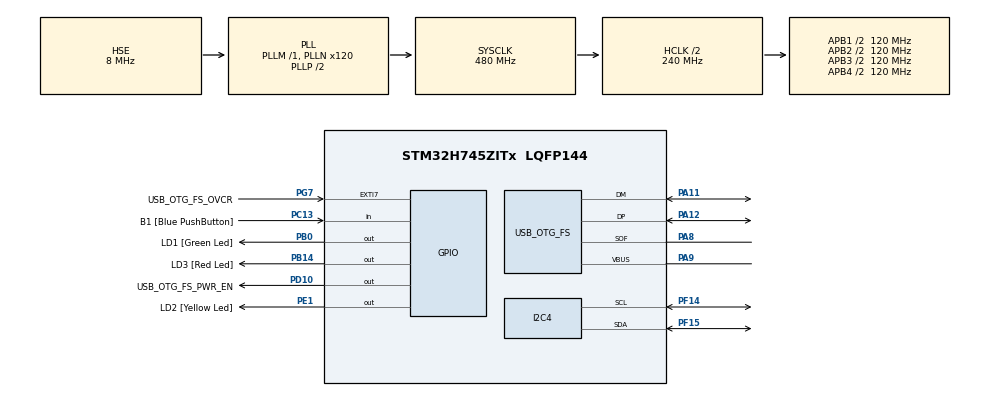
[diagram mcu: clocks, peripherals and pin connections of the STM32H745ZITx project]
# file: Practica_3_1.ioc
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CortexM4.IPs=FATFS_M4\:I,FREERTOS_M4\:I,IWDG2\:I,RCC,WWDG2\:I,DMA,BDMA,MDMA,NVIC2\:I,DEBUG,USB_DEVICE_M4\:I,USB_HOST_M4\:I,PDM2PCM_M4\:I,PWR,RESMGR_UTILITY,SYS_M4\:I,CORTEX_M4\:I,OPENAMP_M4\:I,VREFBUF
CortexM7.IPs=FATFS_M7\:I,FREERTOS_M7\:I,IWDG1\:I,RCC\:I,WWDG1\:I,DMA\:I,BDMA\:I,MDMA\:I,NVIC1\:I,SYS\:I,USB_OTG_FS\:I,CORTEX_M7\:I,DEBUG\:I,USB_DEVICE_M7\:I,USB_HOST_M7\:I,PDM2PCM_M7\:I,PWR\:I,RESMGR_UTILITY\:I,OPENAMP_M7\:I,VREFBUF\:I,I2C4\:I,TIM5\:I
I2C4.Timing=0x307075B1
Mcu.Family=STM32H7
Mcu.Name=STM32H745ZITx
Mcu.Package=LQFP144
NVIC1.PriorityGroup=NVIC_PRIORITYGROUP_4
NVIC2.PriorityGroup=NVIC_PRIORITYGROUP_4
PA1.PinAttribute=CortexM7
PA1.Signal=ETH_REF_CLK
PA11.Mode=Device_Only
PA11.PinAttribute=CortexM7
PA11.Signal=USB_OTG_FS_DM
PA12.Mode=Device_Only
PA12.PinAttribute=CortexM7
PA12.Signal=USB_OTG_FS_DP
PA2.PinAttribute=CortexM7
PA2.Signal=ETH_MDIO
PA7.PinAttribute=CortexM7
PA7.Signal=ETH_CRS_DV
PA8.Mode=Activate_SOF_FS
PA8.PinAttribute=CortexM7
PA8.Signal=USB_OTG_FS_SOF
PA9.Mode=Activate_VBUS
PA9.PinAttribute=CortexM7
PA9.Signal=USB_OTG_FS_VBUS
PB0.GPIO_Label=LD1 [Green Led]
PB0.PinAttribute=Free
PB0.Signal=GPIO_Output
PB13.PinAttribute=CortexM7
PB13.Signal=ETH_TXD1
PB14.GPIO_Label=LD3 [Red Led]
PB14.PinAttribute=Free
PB14.Signal=GPIO_Output
PC1.PinAttribute=CortexM7
PC1.Signal=ETH_MDC
PC13.GPIO_Label=B1 [Blue PushButton]
PC13.PinAttribute=Free
PC13.Signal=GPIO_Input
PC14-OSC32_IN\ (OSC32_IN).Mode=LSE-External-Oscillator
PC14-OSC32_IN\ (OSC32_IN).PinAttribute=CortexM7
PC14-OSC32_IN\ (OSC32_IN).Signal=RCC_OSC32_IN
PC15-OSC32_OUT\ (OSC32_OUT).Mode=LSE-External-Oscillator
PC15-OSC32_OUT\ (OSC32_OUT).PinAttribute=CortexM7
PC15-OSC32_OUT\ (OSC32_OUT).Signal=RCC_OSC32_OUT
PC4.PinAttribute=CortexM7
PC4.Signal=ETH_RXD0
PC5.PinAttribute=CortexM7
PC5.Signal=ETH_RXD1
PD10.GPIO_Label=USB_OTG_FS_PWR_EN
PD10.PinAttribute=Free
PD10.Signal=GPIO_Output
PD8.GPIO_Label=STLINK_RX
PD8.PinAttribute=CortexM7
PD8.Signal=USART3_TX
PD9.GPIO_Label=STLINK_TX
PD9.PinAttribute=CortexM7
PD9.Signal=USART3_RX
PE1.GPIO_Label=LD2 [Yellow Led]
PE1.PinAttribute=Free
PE1.Signal=GPIO_Output
PF14.Mode=I2C
PF14.PinAttribute=CortexM7
PF14.Signal=I2C4_SCL
PF15.Mode=I2C
PF15.PinAttribute=CortexM7
PF15.Signal=I2C4_SDA
PG11.PinAttribute=CortexM7
PG11.Signal=ETH_TX_EN
PG13.PinAttribute=CortexM7
PG13.Signal=ETH_TXD0
PG7.GPIO_Label=USB_OTG_FS_OVCR
PG7.PinAttribute=Free
PG7.Signal=GPXTI7
PH0-OSC_IN\ (PH0).Mode=HSE-External-Clock-Source
PH0-OSC_IN\ (PH0).PinAttribute=CortexM7
PH0-OSC_IN\ (PH0).Signal=RCC_OSC_IN
PH1-OSC_OUT\ (PH1).PinAttribute=CortexM7
PH1-OSC_OUT\ (PH1).Signal=RCC_OSC_OUT
ProjectManager.HeapSize=M4-0x200,M7-0x200
ProjectManager.StackSize=M4-0x400,M7-0x400
ProjectManager.TargetToolchain=STM32CubeIDE
RCC.ADCFreq_Value=16125000
RCC.APB1Freq_Value=120000000
RCC.APB2Freq_Value=120000000
RCC.APB3Freq_Value=120000000
RCC.APB4Freq_Value=120000000
RCC.CortexFreq_Value=480000000
RCC.D1PPRE=RCC_APB3_DIV2
RCC.D2PPRE1=RCC_APB1_DIV2
RCC.D2PPRE2=RCC_APB2_DIV2
RCC.D3PPRE=RCC_APB4_DIV2
RCC.DIVM1=1
RCC.DIVM3=1
RCC.DIVN1=120
RCC.DIVN3=24
RCC.DIVQ3=4
RCC.HCLKFreq_Value=240000000
RCC.HPRE=RCC_HCLK_DIV2
RCC.HSE_VALUE=8000000
RCC.PLL2FRACN=0
RCC.PLL3FRACN=0
RCC.PLLFRACN=0
RCC.SYSCLKFreq_VALUE=480000000
RCC.SYSCLKSource=RCC_SYSCLKSOURCE_PLLCLK
RCC.SupplySource=PWR_DIRECT_SMPS_SUPPLY
RCC.USBCLockSelection=RCC_USBCLKSOURCE_PLL3
RCC.USBFreq_Value=48000000
TIM5.Period=5000
TIM5.Prescaler=47999
USB_OTG_FS.VirtualMode=Device_Only
VP_SYS_M4_VS_Systick.Mode=SysTick
VP_TIM5_VS_ClockSourceINT.Mode=Internal
board=NUCLEO-H745ZI-Q

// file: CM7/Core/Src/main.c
/* USER CODE BEGIN Header */
/**
  ******************************************************************************
  * @file           : main.c
  * @brief          : Main program body
  ******************************************************************************
  * @attention
  *
  * <h2><center>&copy; Copyright (c) 2021 STMicroelectronics.
  * All rights reserved.</center></h2>
  *
  * This software component is licensed by ST under BSD 3-Clause license,
  * the "License"; You may not use this file except in compliance with the
  * License. You may obtain a copy of the License at:
  *                        opensource.org/licenses/BSD-3-Clause
  *
  ******************************************************************************
  */
/* USER CODE END Header */
#include "main.h"

/* USER CODE BEGIN Includes */
#include <stdio.h>
/* USER CODE END Includes */

/* USER CODE BEGIN PD */

#ifndef HSEM_ID_0
#define HSEM_ID_0 (0U) /* HW semaphore 0*/
#endif
/* USER CODE END PD */

/* USER CODE BEGIN PM */
char i2c_buffer[16];
/* USER CODE END PM */

I2C_HandleTypeDef hi2c4;

TIM_HandleTypeDef htim5;

PCD_HandleTypeDef hpcd_USB_OTG_FS;

void SystemClock_Config(void);
static void MX_GPIO_Init(void);
static void MX_USB_OTG_FS_PCD_Init(void);
static void MX_I2C4_Init(void);
static void MX_TIM5_Init(void);

int main(void)
{
/* USER CODE BEGIN Boot_Mode_Sequence_0 */
  int32_t timeout;
/* USER CODE END Boot_Mode_Sequence_0 */

/* USER CODE BEGIN Boot_Mode_Sequence_1 */
  /* Wait until CPU2 boots and enters in stop mode or timeout*/
  timeout = 0xFFFF;
  while((__HAL_RCC_GET_FLAG(RCC_FLAG_D2CKRDY) != RESET) && (timeout-- > 0));
  if ( timeout < 0 )
  {
  Error_Handler();
  }
/* USER CODE END Boot_Mode_Sequence_1 */
  /* MCU Configuration--------------------------------------------------------*/

  /* Reset of all peripherals, Initializes the Flash interface and the Systick. */
  HAL_Init();

  /* Configure the system clock */
  SystemClock_Config();
/* USER CODE BEGIN Boot_Mode_Sequence_2 */
/* When system initialization is finished, Cortex-M7 will release Cortex-M4 by means of
HSEM notification */
/*HW semaphore Clock enable*/
__HAL_RCC_HSEM_CLK_ENABLE();
/*Take HSEM */
HAL_HSEM_FastTake(HSEM_ID_0);
/*Release HSEM in order to notify the CPU2(CM4)*/
HAL_HSEM_Release(HSEM_ID_0,0);
/* wait until CPU2 wakes up from stop mode */
timeout = 0xFFFF;
while((__HAL_RCC_GET_FLAG(RCC_FLAG_D2CKRDY) == RESET) && (timeout-- > 0));
if ( timeout < 0 )
{
Error_Handler();
}
/* USER CODE END Boot_Mode_Sequence_2 */

  /* Initialize all configured peripherals */
  MX_GPIO_Init();
  MX_USB_OTG_FS_PCD_Init();
  MX_I2C4_Init();
  MX_TIM5_Init();
  /* USER CODE BEGIN 2 */
  lcd_init();
  MPU6050_init();
  MPU6050_READ_TEMP();
  /* USER CODE END 2 */

  /* Infinite loop */
  /* USER CODE BEGIN WHILE */
  while (1)
  {
	  lcd_put_cur(0,0);
	  lcd_send_string("Te quiero, Gabby");
	  HAL_Delay(1000);
	  lcd_put_cur(0,5);
	  lcd_send_string("");
	  lcd_put_cur(1,0);
	  HAL_Delay(1000);
	  lcd_send_string("");
	  HAL_Delay(1000);
	  lcd_clear();
	  HAL_Delay(1000);
    /* USER CODE END WHILE */

  }
}

void SystemClock_Config(void)
{
  RCC_OscInitTypeDef RCC_OscInitStruct = {0};
  RCC_ClkInitTypeDef RCC_ClkInitStruct = {0};

  /** Supply configuration update enable
  */
  HAL_PWREx_ConfigSupply(PWR_DIRECT_SMPS_SUPPLY);
  /** Configure the main internal regulator output voltage
  */
  __HAL_PWR_VOLTAGESCALING_CONFIG(PWR_REGULATOR_VOLTAGE_SCALE0);

  while(!__HAL_PWR_GET_FLAG(PWR_FLAG_VOSRDY)) {}
  /** Macro to configure the PLL clock source
  */
  __HAL_RCC_PLL_PLLSOURCE_CONFIG(RCC_PLLSOURCE_HSE);
  /** Initializes the RCC Oscillators according to the specified parameters
  * in the RCC_OscInitTypeDef structure.
  */
  RCC_OscInitStruct.OscillatorType = RCC_OSCILLATORTYPE_HSE;
  RCC_OscInitStruct.HSEState = RCC_HSE_BYPASS;
  RCC_OscInitStruct.PLL.PLLState = RCC_PLL_ON;
  RCC_OscInitStruct.PLL.PLLSource = RCC_PLLSOURCE_HSE;
  RCC_OscInitStruct.PLL.PLLM = 1;
  RCC_OscInitStruct.PLL.PLLN = 120;
  RCC_OscInitStruct.PLL.PLLP = 2;
  RCC_OscInitStruct.PLL.PLLQ = 2;
  RCC_OscInitStruct.PLL.PLLR = 2;
  RCC_OscInitStruct.PLL.PLLRGE = RCC_PLL1VCIRANGE_3;
  RCC_OscInitStruct.PLL.PLLVCOSEL = RCC_PLL1VCOWIDE;
  RCC_OscInitStruct.PLL.PLLFRACN = 0;
  if (HAL_RCC_OscConfig(&RCC_OscInitStruct) != HAL_OK)
  {
    Error_Handler();
  }
  /** Initializes the CPU, AHB and APB buses clocks
  */
  RCC_ClkInitStruct.ClockType = RCC_CLOCKTYPE_HCLK|RCC_CLOCKTYPE_SYSCLK
                              |RCC_CLOCKTYPE_PCLK1|RCC_CLOCKTYPE_PCLK2
                              |RCC_CLOCKTYPE_D3PCLK1|RCC_CLOCKTYPE_D1PCLK1;
  RCC_ClkInitStruct.SYSCLKSource = RCC_SYSCLKSOURCE_PLLCLK;
  RCC_ClkInitStruct.SYSCLKDivider = RCC_SYSCLK_DIV1;
  RCC_ClkInitStruct.AHBCLKDivider = RCC_HCLK_DIV2;
  RCC_ClkInitStruct.APB3CLKDivider = RCC_APB3_DIV2;
  RCC_ClkInitStruct.APB1CLKDivider = RCC_APB1_DIV2;
  RCC_ClkInitStruct.APB2CLKDivider = RCC_APB2_DIV2;
  RCC_ClkInitStruct.APB4CLKDivider = RCC_APB4_DIV2;

  if (HAL_RCC_ClockConfig(&RCC_ClkInitStruct, FLASH_LATENCY_4) != HAL_OK)
  {
    Error_Handler();
  }
}

static void MX_I2C4_Init(void)
{

  hi2c4.Instance = I2C4;
  hi2c4.Init.Timing = 0x307075B1;
  hi2c4.Init.OwnAddress1 = 0;
  hi2c4.Init.AddressingMode = I2C_ADDRESSINGMODE_7BIT;
  hi2c4.Init.DualAddressMode = I2C_DUALADDRESS_DISABLE;
  hi2c4.Init.OwnAddress2 = 0;
  hi2c4.Init.OwnAddress2Masks = I2C_OA2_NOMASK;
  hi2c4.Init.GeneralCallMode = I2C_GENERALCALL_DISABLE;
  hi2c4.Init.NoStretchMode = I2C_NOSTRETCH_DISABLE;
  if (HAL_I2C_Init(&hi2c4) != HAL_OK)
  {
    Error_Handler();
  }
  /** Configure Analogue filter
  */
  if (HAL_I2CEx_ConfigAnalogFilter(&hi2c4, I2C_ANALOGFILTER_ENABLE) != HAL_OK)
  {
    Error_Handler();
  }
  /** Configure Digital filter
  */
  if (HAL_I2CEx_ConfigDigitalFilter(&hi2c4, 0) != HAL_OK)
  {
    Error_Handler();
  }

}

static void MX_TIM5_Init(void)
{

  TIM_ClockConfigTypeDef sClockSourceConfig = {0};
  TIM_MasterConfigTypeDef sMasterConfig = {0};

  htim5.Instance = TIM5;
  htim5.Init.Prescaler = 47999;
  htim5.Init.CounterMode = TIM_COUNTERMODE_UP;
  htim5.Init.Period = 5000;
  htim5.Init.ClockDivision = TIM_CLOCKDIVISION_DIV1;
  htim5.Init.AutoReloadPreload = TIM_AUTORELOAD_PRELOAD_DISABLE;
  if (HAL_TIM_Base_Init(&htim5) != HAL_OK)
  {
    Error_Handler();
  }
  sClockSourceConfig.ClockSource = TIM_CLOCKSOURCE_INTERNAL;
  if (HAL_TIM_ConfigClockSource(&htim5, &sClockSourceConfig) != HAL_OK)
  {
    Error_Handler();
  }
  sMasterConfig.MasterOutputTrigger = TIM_TRGO_RESET;
  sMasterConfig.MasterSlaveMode = TIM_MASTERSLAVEMODE_DISABLE;
  if (HAL_TIMEx_MasterConfigSynchronization(&htim5, &sMasterConfig) != HAL_OK)
  {
    Error_Handler();
  }

}

static void MX_USB_OTG_FS_PCD_Init(void)
{

  hpcd_USB_OTG_FS.Instance = USB_OTG_FS;
  hpcd_USB_OTG_FS.Init.dev_endpoints = 9;
  hpcd_USB_OTG_FS.Init.speed = PCD_SPEED_FULL;
  hpcd_USB_OTG_FS.Init.dma_enable = DISABLE;
  hpcd_USB_OTG_FS.Init.phy_itface = PCD_PHY_EMBEDDED;
  hpcd_USB_OTG_FS.Init.Sof_enable = DISABLE;
  hpcd_USB_OTG_FS.Init.low_power_enable = DISABLE;
  hpcd_USB_OTG_FS.Init.lpm_enable = DISABLE;
  hpcd_USB_OTG_FS.Init.battery_charging_enable = ENABLE;
  hpcd_USB_OTG_FS.Init.vbus_sensing_enable = ENABLE;
  hpcd_USB_OTG_FS.Init.use_dedicated_ep1 = DISABLE;
  if (HAL_PCD_Init(&hpcd_USB_OTG_FS) != HAL_OK)
  {
    Error_Handler();
  }

}

static void MX_GPIO_Init(void)
{

  /* GPIO Ports Clock Enable */
  __HAL_RCC_GPIOC_CLK_ENABLE();
  __HAL_RCC_GPIOH_CLK_ENABLE();
  __HAL_RCC_GPIOF_CLK_ENABLE();
  __HAL_RCC_GPIOA_CLK_ENABLE();

}

/* USER CODE BEGIN 4 */
void MPU6050_init(void){ /*CONFIGURA LOS VALORES DEL ACELERÓMETRO*/
	uint8_t check;     //almacenará valores provenientes del MPU6050.
	uint8_t data;      // enviará datos al MPU6050.
	HAL_I2C_Mem_Read(&hi2c4,MPU6050_ADDR,WHO_AM_I,1,&check,1,1000); //Lee la dirección del acelerómetro
	if(check == 0x68){
		data = 0; //ASIGNA EL VALOR DE PWR_MGMT_1
		HAL_I2C_Mem_Write(&hi2c4,MPU6050_ADDR,PWR_MGMT_1,1,&data,1,1000); //ENVIA PWR_MGMT_1
		data = 0b00000111; //ASIGNA EL VALOR DE SMPLRT_DIV
		HAL_I2C_Mem_Write(&hi2c4,MPU6050_ADDR,SMPLRT_DIV,1,&data,1,1000); //ENVIA SMPLRT_DIV
		data = 0; //ASIGNA EL VALOR DE  GYRO_CONFIG
		HAL_I2C_Mem_Write(&hi2c4,MPU6050_ADDR,GYRO_CONFIG,1,&data,1,1000); //ENVIA GYRO_CONFIG
		data = 0; //ASIGNA EL VALOR DE ACCEL_CONFIG
		HAL_I2C_Mem_Write(&hi2c4,MPU6050_ADDR,ACCEL_CONFIG,1,&data,1,1000); //ENVIA ACCEL_CONFIG
	}
}

float MPU6050_READ_TEMP(void){ /*LEE EL VALOR DE LA TEMPERATURA*/
	/*Temperature in degrees C = (TEMP_OUT Register Value as a signed quantity)/340 + 36.53*/
	uint8_t MEASURE_TEMP[2];  /* VECTOR DE VALORES MEDIDOS |TEMP_H|TEMP_L|*/
	HAL_I2C_Mem_Read(&hi2c4,MPU6050_ADDR,TEMP_OUT_H,1,&MEASURE_TEMP[0],1,1000); //GUARDA LA MEDDIDA EN M[0]
	HAL_I2C_Mem_Read(&hi2c4,MPU6050_ADDR,TEMP_OUT_L,1,&MEASURE_TEMP[1],1,1000); //GUARDA LA MEDDIDA EN M[1]

	int16_t TEMP_RAW = (int16_t)(MEASURE_TEMP[0] << 8 | MEASURE_TEMP[1]); /*JUNTA LOS DATOS EN UN ESPACIO DE MEMORIA DE 16 BITS (TEMP_RAW)*/
	float TEMP = (TEMP_RAW/340.0) +36.53; /*TEMPERATURA EN C*/
	return TEMP;
}
/* USER CODE END 4 */

void Error_Handler(void)
{
  __disable_irq();
  while (1)
  {
  }
}

/************************ (C) COPYRIGHT STMicroelectronics *****END OF FILE****/
